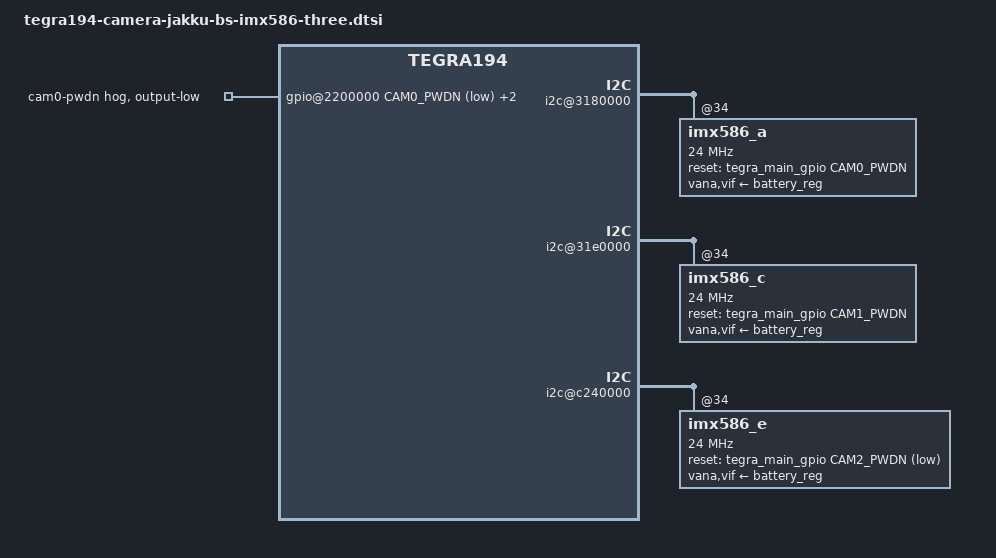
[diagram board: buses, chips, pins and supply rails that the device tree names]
/*
 * Copyright (c) 2020, RidgeRun.  All rights reserved.
 *
 * Contact us: support@ridgerun.com
 *
 * This program is free software; you can redistribute it and/or modify
 * it under the terms of the GNU General Public License as published by
 * the Free Software Foundation; either version 2 of the License, or
 * (at your option) any later version.
 *
 * This program is distributed in the hope that it will be useful, but WITHOUT
 * ANY WARRANTY; without even the implied warranty of MERCHANTABILITY or
 * FITNESS FOR A PARTICULAR PURPOSE.  See the GNU General Public License for
 * more details.
 *
 * You should have received a copy of the GNU General Public License
 * along with this program.  If not, see <http://www.gnu.org/licenses/>.
 */

#include <t19x-common-modules/tegra194-camera-bs-imx586-three.dtsi>
#include "dt-bindings/clock/tegra194-clock.h"


#define CAM0_RST_L	TEGRA194_MAIN_GPIO(H, 3)
#define CAM0_PWDN	TEGRA194_MAIN_GPIO(P, 4)

#define CAM1_RST_L	TEGRA194_MAIN_GPIO(T, 6)
#define CAM1_PWDN	TEGRA194_MAIN_GPIO(P, 5)

#define CAM2_PWDN	TEGRA194_AON_GPIO(CC, 2)

#define CAM_I2C_MUX 	TEGRA194_AON_GPIO(CC, 3)
#define CAMERA_I2C_MUX_BUS(x) (0x1E + x)

/ {
	gpio@2200000 {
		camera-control-output-low {
			gpio-hog;
			output-low;
			gpios = <CAM0_PWDN 1 CAM1_PWDN 1 CAM2_PWDN 0>;
			label = "cam0-pwdn", "cam1-pwdn", "cam2-pwdn";
		};
	};

	i2c@3180000 {	
		imx586_a@34 {		
			// cam0_mclk
			clocks = <&bpmp_clks TEGRA194_CLK_EXTPERIPH1>,
					<&bpmp_clks TEGRA194_CLK_PLLP_OUT0>;
			clock-names = "extperiph1", "pllp_grtba";
			mclk = "extperiph1";
			clock-frequency = <24000000>;
			//status = "okay";

			reset-gpios = <&tegra_main_gpio CAM0_PWDN GPIO_ACTIVE_HIGH>;   //also for VCM_2V8 en
			//pwdn-gpios = <&tegra_main_gpio CAM0_PWDN GPIO_ACTIVE_HIGH>;
			vana-supply = <&battery_reg>;	//vana-supply = <&p3509_avdd_cam_2v8>;
			vif-supply = <&battery_reg>;	//vif-supply = <&p3509_vdd_1v8_cvb>;
			//vdig-supply = <&en_vdd_sys>;
			//vvcm-suply = <&en_vdd_vcm_2v8>;
			//vdig-supply = <&en_vdd_cam_1v2>;
		};
	};
	
	i2c@31e0000 {
		imx586_c@34 {		
			// cam1_mclk
			clocks = <&bpmp_clks TEGRA194_CLK_EXTPERIPH2>,
					<&bpmp_clks TEGRA194_CLK_PLLP_OUT0>;
			clock-names = "extperiph2", "pllp_grtba";
			mclk = "extperiph2";
			clock-frequency = <24000000>;
			//status = "okay";

			reset-gpios = <&tegra_main_gpio CAM1_PWDN GPIO_ACTIVE_HIGH>;   //also for VCM_2V8 en
			//pwdn-gpios = <&tegra_main_gpio CAM1_PWDN GPIO_ACTIVE_HIGH>;
			vana-supply = <&battery_reg>;	//vana-supply = <&p3509_avdd_cam_2v8>;
			vif-supply = <&battery_reg>;	//vif-supply = <&p3509_vdd_1v8_cvb>;
			//vdig-supply = <&en_vdd_sys>;
			//vvcm-suply = <&en_vdd_vcm_2v8>;
			//vdig-supply = <&en_vdd_cam_1v2>;			
		};
	};	
	
	i2c@c240000 {
		imx586_e@34 {		
			// cam1_mclk
			clocks = <&bpmp_clks TEGRA194_CLK_EXTPERIPH2>,
					<&bpmp_clks TEGRA194_CLK_PLLP_OUT0>;
			clock-names = "extperiph2", "pllp_grtba";
			mclk = "extperiph2";
			clock-frequency = <24000000>;
			//status = "okay";

			reset-gpios = <&tegra_main_gpio CAM2_PWDN GPIO_ACTIVE_LOW>;   //also for VCM_2V8 en
			//pwdn-gpios = <&tegra_main_gpio CAM2_PWDN GPIO_ACTIVE_LOW>;
			vana-supply = <&battery_reg>;	//vana-supply = <&p3509_avdd_cam_2v8>;
			vif-supply = <&battery_reg>;	//vif-supply = <&p3509_vdd_1v8_cvb>;
			//vdig-supply = <&en_vdd_sys>;
			//vvcm-suply = <&en_vdd_vcm_2v8>;
			//vdig-supply = <&en_vdd_cam_1v2>;			
		};
	};	
	
};
